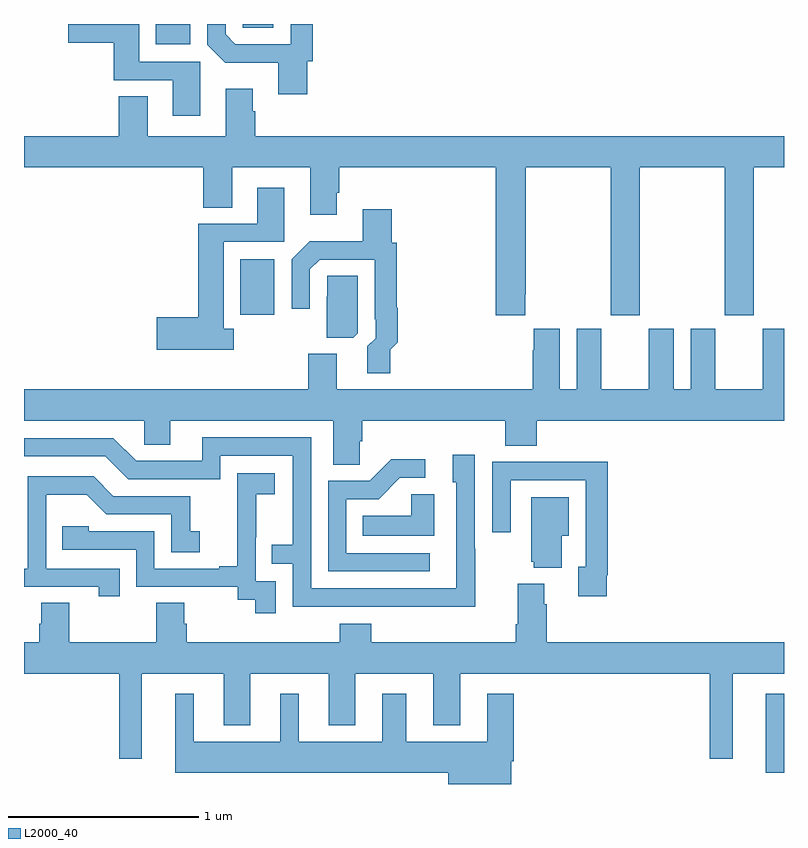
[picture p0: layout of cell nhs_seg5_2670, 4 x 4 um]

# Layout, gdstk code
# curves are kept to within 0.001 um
import gdstk
lib = gdstk.Library(unit=1e-6, precision=1e-09)
def R(c, l, rs):  # rectangles x0, y0, x1, y1
    for r in rs: c.add(gdstk.rectangle(r[:2], r[2:], *l))
def P(c, l, *ps):  # polygons
    for p in ps: c.add(gdstk.Polygon(p, *l))
L2000_40 = (2000, 40)

nhs_seg5_2670 = lib.new_cell('nhs_seg5_2670')
R(nhs_seg5_2670, L2000_40, [(268.904,902.858,269,903.274), (266.138,905.27,266.317,905.56), (265.694,906.692,265.876,906.799), (266.151,906.778,266.313,906.799)])
P(nhs_seg5_2670, L2000_40, [(266.492,906.603),(266.519,906.603),(266.519,906.799),(266.403,906.799),(266.403,906.693),(266.112,906.693),(266.061,906.744),(266.061,906.799),(265.965,906.799),(265.965,906.69),(266.059,906.596),(266.339,906.596),(266.339,906.429),(266.492,906.429)],
  [(265.927,906.6),(265.606,906.6),(265.606,906.799),(265.233,906.799),(265.233,906.701),(265.472,906.701),(265.472,906.504),(265.784,906.504),(265.784,906.315),(265.927,906.315)],
  [(267.637,905.377),(267.642,905.377),(267.642,906.044),(268.087,906.044),(268.087,905.265),(268.242,905.265),(268.242,906.044),(268.687,906.044),(268.687,905.265),(268.842,905.265),(268.842,906.044),(269,906.044),(269,906.208),(266.216,906.208),(266.216,906.341),(266.203,906.341),(266.203,906.457),(266.063,906.457),(266.063,906.208),(265.651,906.208),(265.651,906.419),(265.499,906.419),(265.499,906.208),(265,906.208),(265,906.044),(265.943,906.044),(265.943,905.833),(266.095,905.833),(266.095,906.044),(266.507,906.044),(266.507,905.796),(266.647,905.796),(266.647,905.911),(266.66,905.911),(266.66,906.044),(267.482,906.044),(267.482,905.265),(267.637,905.265)],
  [(266.104,905.194),(266.05,905.194),(266.05,905.652),(266.371,905.652),(266.371,905.938),(266.228,905.938),(266.228,905.748),(265.916,905.748),(265.916,905.255),(265.698,905.255),(265.698,905.085),(266.104,905.085)],
  [(266.927,905.085),(266.966,905.124),(266.966,905.306),(266.963,905.306),(266.963,905.649),(266.936,905.649),(266.936,905.824),(266.783,905.824),(266.783,905.656),(266.503,905.656),(266.409,905.562),(266.409,905.301),(266.505,905.301),(266.505,905.508),(266.556,905.559),(266.847,905.559),(266.847,905.245),(266.85,905.245),(266.85,905.145),(266.807,905.102),(266.807,904.962),(266.927,904.962)],
  [(266.757,905.172),(266.757,905.474),(266.595,905.474),(266.595,905.363),(266.594,905.363),(266.594,905.149),(266.733,905.149)],
  [(266.766,904.603),(266.78,904.603),(266.78,904.712),(267.533,904.712),(267.533,904.579),(267.698,904.579),(267.698,904.712),(269,904.712),(269,905.194),(268.889,905.194),(268.889,904.876),(268.639,904.876),(268.639,905.194),(268.508,905.194),(268.508,904.876),(268.42,904.876),(268.42,905.194),(268.289,905.194),(268.289,904.876),(268.039,904.876),(268.039,905.194),(267.908,905.194),(267.908,904.876),(267.82,904.876),(267.82,905.194),(267.683,905.194),(267.683,905.081),(267.677,905.081),(267.677,904.876),(266.647,904.876),(266.647,905.064),(266.495,905.064),(266.495,904.876),(265,904.876),(265,904.712),(265.632,904.712),(265.632,904.585),(265.771,904.585),(265.771,904.712),(266.627,904.712),(266.627,904.48),(266.766,904.48)],
  [(267.375,904.037),(267.372,904.037),(267.372,904.531),(267.257,904.531),(267.257,904.386),(267.276,904.386),(267.276,903.828),(266.511,903.828),(266.511,904.623),(265.937,904.623),(265.937,904.5),(265.59,904.5),(265.47,904.62),(265,904.62),(265,904.524),(265.428,904.524),(265.548,904.404),(266.034,904.404),(266.034,904.527),(266.415,904.527),(266.415,904.058),(266.305,904.058),(266.305,903.957),(266.415,903.957),(266.415,903.732),(267.375,903.731)],
  [(267.136,904.014),(266.697,904.014),(266.697,904.299),(266.866,904.299),(266.977,904.41),(267.112,904.41),(267.112,904.508),(266.933,904.508),(266.82,904.395),(266.601,904.395),(266.601,903.918),(267.136,903.918)],
  [(268.066,903.898),(268.073,903.898),(268.073,904.496),(267.781,904.496),(267.781,904.494),(267.465,904.494),(267.465,904.125),(267.561,904.125),(267.561,904.398),(267.957,904.398),(267.957,903.942),(267.917,903.942),(267.917,903.786),(268.066,903.786)],
  [(266.325,903.867),(266.22,903.867),(266.22,904.097),(266.222,904.097),(266.222,904.325),(266.32,904.325),(266.32,904.435),(266.122,904.435),(266.122,904.229),(266.123,904.229),(266.123,903.946),(266.027,903.946),(266.027,903.933),(265.686,903.933),(265.686,904.128),(265.341,904.128),(265.341,904.155),(265.201,904.155),(265.201,904.032),(265.59,904.032),(265.59,903.837),(266.124,903.837),(266.124,903.769),(266.217,903.769),(266.217,903.699),(266.325,903.699)],
  [(265.505,903.933),(265.116,903.933),(265.116,904.322),(265.33,904.322),(265.434,904.218),(265.776,904.218),(265.776,904.02),(265.924,904.02),(265.924,904.129),(265.875,904.129),(265.875,904.314),(265.471,904.314),(265.366,904.419),(265.02,904.419),(265.02,903.933),(265,903.933),(265,903.837),(265.394,903.837),(265.394,903.786),(265.505,903.786)],
  [(267.16,904.325),(267.039,904.325),(267.039,904.21),(266.782,904.21),(266.782,904.106),(267.16,904.106)],
  [(267.829,904.106),(267.868,904.106),(267.868,904.309),(267.671,904.309),(267.671,903.969),(267.683,903.969),(267.683,903.938),(267.829,903.938)],
  [(265.621,903.38),(266.051,903.38),(266.051,903.107),(266.191,903.107),(266.191,903.38),(266.603,903.38),(266.603,903.107),(266.743,903.107),(266.743,903.38),(267.155,903.38),(267.155,903.107),(267.295,903.107),(267.295,903.38),(268.608,903.38),(268.608,902.931),(268.729,902.931),(268.729,903.38),(269,903.38),(269,903.544),(267.752,903.544),(267.752,903.746),(267.739,903.746),(267.739,903.853),(267.599,903.853),(267.599,903.64),(267.587,903.64),(267.587,903.544),(266.828,903.544),(266.828,903.643),(266.663,903.643),(266.663,903.544),(265.856,903.544),(265.856,903.642),(265.843,903.642),(265.843,903.752),(265.696,903.752),(265.696,903.544),(265.239,903.544),(265.239,903.752),(265.091,903.752),(265.091,903.642),(265.079,903.642),(265.079,903.544),(265,903.544),(265,903.38),(265.5,903.38),(265.5,902.931),(265.621,902.931)],
  [(267.565,902.918),(267.578,902.918),(267.578,903.274),(267.437,903.274),(267.437,903.022),(267.013,903.022),(267.013,903.274),(266.885,903.274),(266.885,903.022),(266.446,903.022),(266.446,903.274),(266.348,903.274),(266.348,903.022),(265.894,903.022),(265.894,903.274),(265.796,903.274),(265.796,902.858),(267.233,902.858),(267.233,902.799),(267.565,902.799)])

lib.write_gds('nhs_seg5_2670.gds')
